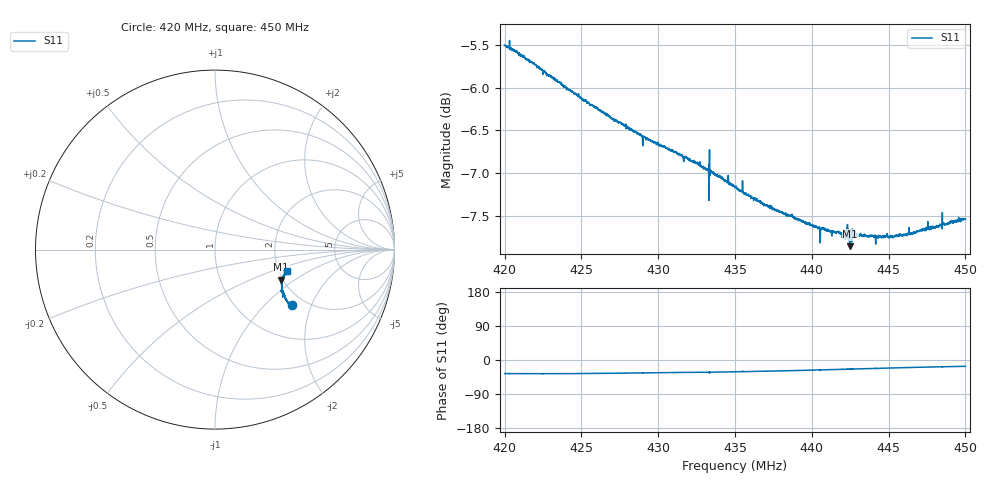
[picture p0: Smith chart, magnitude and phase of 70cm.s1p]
! Calibrated averaged scanner-service zoom
# Hz S RI R 50
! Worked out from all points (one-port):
!   3001 points, 420 MHz to 450 MHz, reference 50 ohm
!   lowest |S11| = -7.9 dB at 442.5 MHz (marker M1), VSWR 2.36, Z = 98.1 - j39.1 ohm
!   |S11| at or under -10 dB: nowhere
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4.2e8  0.4301 -0.3112
4.2068e8  0.4263 -0.3093
4.2175e8  0.4199 -0.3052
4.2375e8  0.4069 -0.2951
4.255e8  0.3998 -0.285
4.275e8  0.3931 -0.2726
4.2908e8  0.3887 -0.2626
4.3125e8  0.3849 -0.2498
4.3261e8  0.382 -0.2427
4.3315e8  0.3798 -0.239
4.3319e8  0.3798 -0.2389
4.3346e8  0.3796 -0.2375
4.335e8  0.3795 -0.2373
4.35e8  0.3752 -0.226
4.3687e8  0.3714 -0.2115
4.3875e8  0.3718 -0.1981
4.4036e8  0.3714 -0.1846
4.405e8  0.3727 -0.1834
4.4074e8  0.3723 -0.1814
4.4193e8  0.3742 -0.1717
4.4233e8  0.3766 -0.1687
4.4249e8  0.3687 -0.1668
4.425e8  0.3757 -0.165
4.4418e8  0.3799 -0.1532
4.4516e8  0.3824 -0.1477
4.4625e8  0.3869 -0.14
4.4834e8  0.3966 -0.1285
4.5e8  0.402 -0.1206
